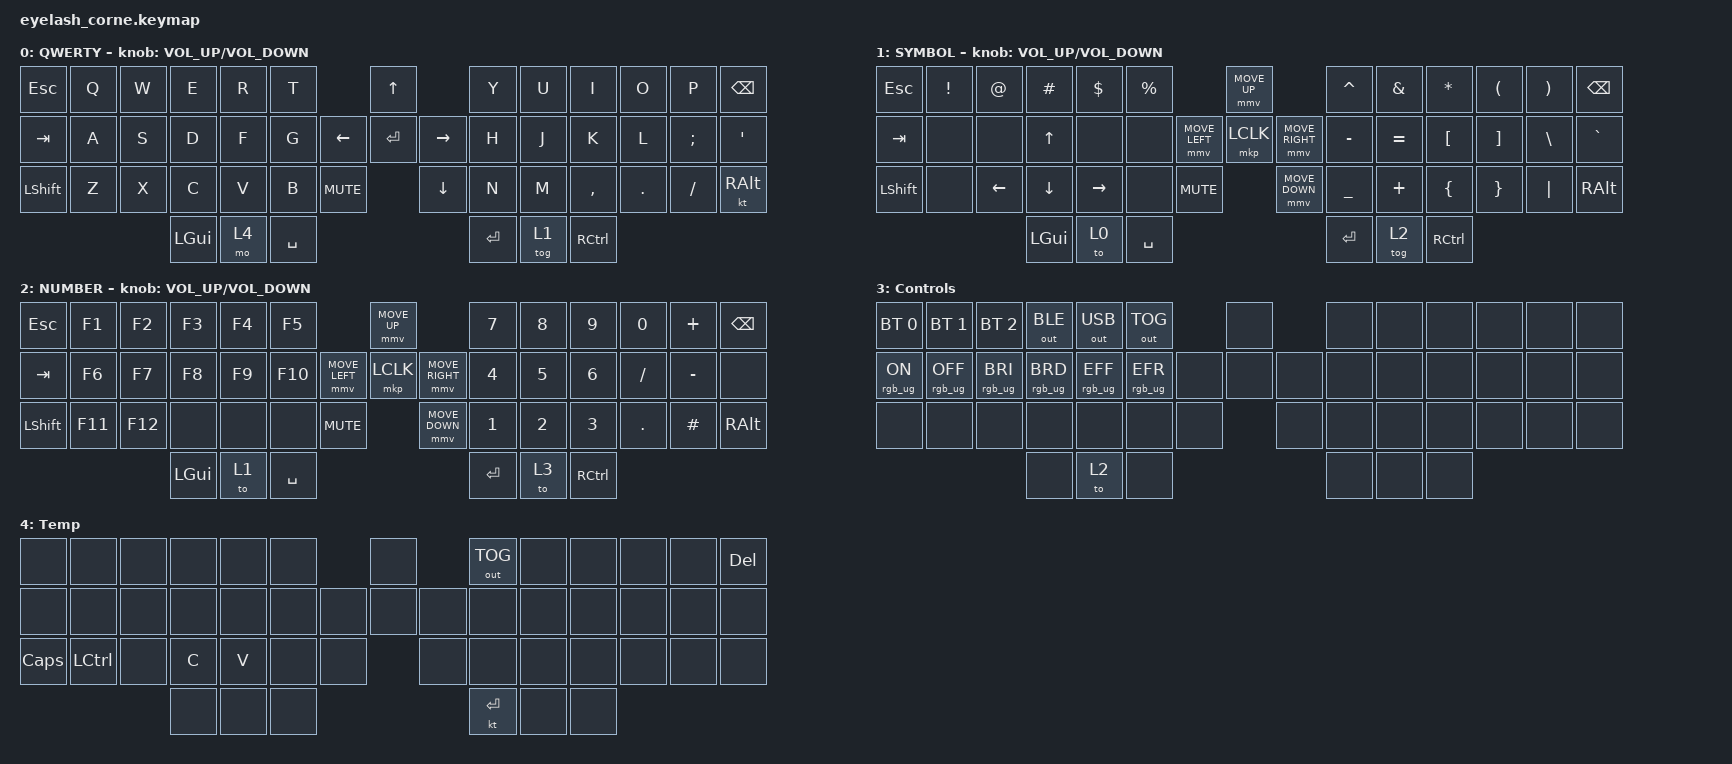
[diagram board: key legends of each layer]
#include <behaviors/mouse_keys.dtsi>
#include <dt-bindings/zmk/mouse.h>
#include <behaviors.dtsi>
#include <dt-bindings/zmk/bt.h>
#include <dt-bindings/zmk/keys.h>
#include <dt-bindings/zmk/keys.h>
#include <dt-bindings/zmk/outputs.h>
#include <dt-bindings/zmk/pointing.h>
#include <dt-bindings/zmk/pointing.h>
#include <dt-bindings/zmk/pointing.h>
#include <dt-bindings/zmk/rgb.h>

#define ZMK_MOUSE_DEFAULT_MOVE_VAL 1200  // 600
#define ZMK_MOUSE_DEFAULT_SCRL_VAL 20    // 10
#define U_MS_U &mmv MOVE_UP
#define U_MS_D &mmv MOVE_DOWN
#define U_MS_L &mmv MOVE_LEFT
#define U_MS_R &mmv MOVE_RIGHT

/ {
    behaviors {
        td0: td0 {
            compatible = "zmk,behavior-tap-dance";
            label = "TD0";
            #binding-cells = <0>;
            bindings = <&kp LEFT_SHIFT>, <&kp CAPS>;
        };

        mmv {
            acceleration-exponent = <1>;      // 1
            time-to-max-speed-ms = <900>;    // 40
            delay-ms = <0>;                   // 0
        };

        msc {
            acceleration-exponent = <1>;      // 0
            time-to-max-speed-ms = <400>;      // 500
            delay-ms = <0>;                   // 10
        };
    };

    rgb_encoder: rgb_encoder {
        compatible = "zmk,behavior-sensor-rotate";
        label = "RGB_ENCODER";
        #sensor-binding-cells = <0>;
        bindings = <&rgb_ug RGB_BRI>, <&rgb_ug RGB_BRD>;
    };

    scroll_encoder: scroll_encoder {
        compatible = "zmk,behavior-sensor-rotate";
        #sensor-binding-cells = <0>;
        bindings = <&msc SCRL_DOWN>, <&msc SCRL_UP>;

        tap-ms = <30>;
    };

    keymap {
        compatible = "zmk,keymap";

        Main {
            display-name = "QWERTY";

            // --------------------------------------------------------------------------------
            // |  TAB |  Q  |  W  |  E  |  R  |  T  |                ↑    |  Y  |  U   |  I  |  O  |  P  | BKSP |      &kp UP_ARROW 
            // | SHIFT |  A  |  S  |  D  |  F  |  G  |               ↓    |  H  |  J   |  K  |  L  |  ;  |  '   | 
            // | CTRL |  Z  |  X  |  C  |  V  |  B  |                ←    |  N  |  M   |  ,  |  .  |  /  | ESC  |
            //                    | GUI | LWR | SPC |                →    | ENT | RSE  | ALT |
            //                                                      enter

            bindings = <
&kp ESC     &kp Q  &kp W  &kp E         &kp R  &kp T                                    &kp UP_ARROW             &kp Y      &kp U   &kp I              &kp O       &kp P          &kp BSPC
&kp TAB     &kp A  &kp S  &kp D         &kp F  &kp G                    &kp LEFT_ARROW  &kp ENTER     &kp RIGHT  &kp H      &kp J   &kp K              &kp L       &kp SEMICOLON  &kp SQT
&kp LSHIFT  &kp Z  &kp X  &kp C         &kp V  &kp B      &kp K_MUTE                    &kp DOWN                 &kp N      &kp M   &kp COMMA          &kp PERIOD  &kp SLASH      &kt RIGHT_ALT
                          &kp LEFT_GUI  &mo 4  &kp SPACE                                                         &kp ENTER  &tog 1  &kp RIGHT_CONTROL
            >;

            label = "QWERTY";
            sensor-bindings = <&inc_dec_kp C_VOLUME_UP C_VOLUME_DOWN>;
        };

        Symbols {
            display-name = "SYMBOL";

            // -----------------------------------------------------------------------------------------
            // |  TAB |  !  |  @  |  #  |  $  |  %  |   |  ^  |  &  |  *  |  (  |  )  | BKSP |
            // | CTRL |     |     |     |     |     |   |  -  |  =  |  [  |  ]  |  \  |  `   |
            // | SHFT |     |     |     |     |     |   |  _  |  +  |  {  |  }  | "|" |  ~   |
            //                    | GUI |     | SPC |   | ENT |     | ALT |

            bindings = <
&kp ESCAPE      &kp EXCL  &kp AT          &kp HASH        &kp DLLR         &kp PRCNT                                &mmv MOVE_UP                     &kp CARET       &kp AMPS   &kp ASTRK          &kp LPAR           &kp RPAR       &kp BACKSPACE
&kp TAB         &none     &none           &kp UP_ARROW    &none            &none                    &mmv MOVE_LEFT  &mkp LCLK       &mmv MOVE_RIGHT  &kp MINUS       &kp EQUAL  &kp LEFT_BRACKET   &kp RIGHT_BRACKET  &kp BACKSLASH  &kp GRAVE
&kp LEFT_SHIFT  &none     &kp LEFT_ARROW  &kp DOWN_ARROW  &kp RIGHT_ARROW  &none      &kp K_MUTE                    &mmv MOVE_DOWN                   &kp UNDERSCORE  &kp PLUS   &kp LEFT_BRACE     &kp RIGHT_BRACE    &kp PIPE       &kp RIGHT_ALT
                                          &kp LEFT_GUI    &to 0            &kp SPACE                                                                 &kp ENTER       &tog 2     &kp RIGHT_CONTROL
            >;

            label = "SYMBOL";
            sensor-bindings = <&inc_dec_kp C_VOLUME_UP C_VOLUME_DOWN>;
        };

        Numbers {
            display-name = "NUMBER";

            // -----------------------------------------------------------------------------------------
            // |  TAB |  1  |  2  |  3  |  4  |  5  |   |  6  |  7  |  8  |  9  |  0  | BKSP |
            // | BTCLR| BT1 | BT2 | BT3 | BT4 | BT5 |   | LFT | DWN |  UP | RGT |     |      |
            // | SHFT |     |     |     |     |     |   |     |     |     |     |     |      |
            //                    | GUI |     | SPC |   | ENT |     | ALT |

            bindings = <
&kp ESC         &kp F1   &kp F2   &kp F3        &kp F4  &kp F5                                   &mmv MOVE_UP                     &kp N7        &kp N8        &kp N9             &kp N0      &kp PLUS   &kp BSPC
&kp TAB         &kp F6   &kp F7   &kp F8        &kp F9  &kp F10                  &mmv MOVE_LEFT  &mkp LCLK       &mmv MOVE_RIGHT  &kp NUMBER_4  &kp N5        &kp NUMBER_6       &kp SLASH   &kp MINUS  &none
&kp LEFT_SHIFT  &kp F11  &kp F12  &none         &none   &none      &kp K_MUTE                    &mmv MOVE_DOWN                   &kp NUMBER_1  &kp NUMBER_2  &kp NUMBER_3       &kp PERIOD  &kp HASH   &kp RIGHT_ALT
                                  &kp LEFT_GUI  &to 1   &kp SPACE                                                                 &kp ENTER     &to 3         &kp RIGHT_CONTROL
            >;

            label = "NUMBER";
            sensor-bindings = <&inc_dec_kp C_VOL_UP C_VOLUME_DOWN>;
        };

        Controls {
            bindings = <
&bt BT_SEL 0    &bt BT_SEL 1     &bt BT_SEL 2     &out OUT_BLE     &out OUT_USB     &out OUT_TOG                     &none         &none  &none  &none  &none  &none  &none
&rgb_ug RGB_ON  &rgb_ug RGB_OFF  &rgb_ug RGB_BRI  &rgb_ug RGB_BRD  &rgb_ug RGB_EFF  &rgb_ug RGB_EFR           &none  &none  &none  &none  &none  &none  &none  &none  &none
&none           &none            &none            &none            &none            &none            &none           &none         &none  &none  &none  &none  &none  &none
                                                  &none            &to 2            &none                                          &none  &none  &none
            >;
        };

        Temp {
            bindings = <
&none         &none             &none  &none  &none  &none                  &none         &out OUT_TOG  &none  &none  &none  &none  &kp DELETE
&none         &none             &none  &none  &none  &none           &none  &none  &none  &none         &none  &none  &none  &none  &none
&kp CAPSLOCK  &kp LEFT_CONTROL  &none  &kp C  &kp V  &none  &none           &none         &none         &none  &none  &none  &none  &none
                                       &none  &none  &none                                &kt ENTER     &none  &none
            >;
        };
    };
};
